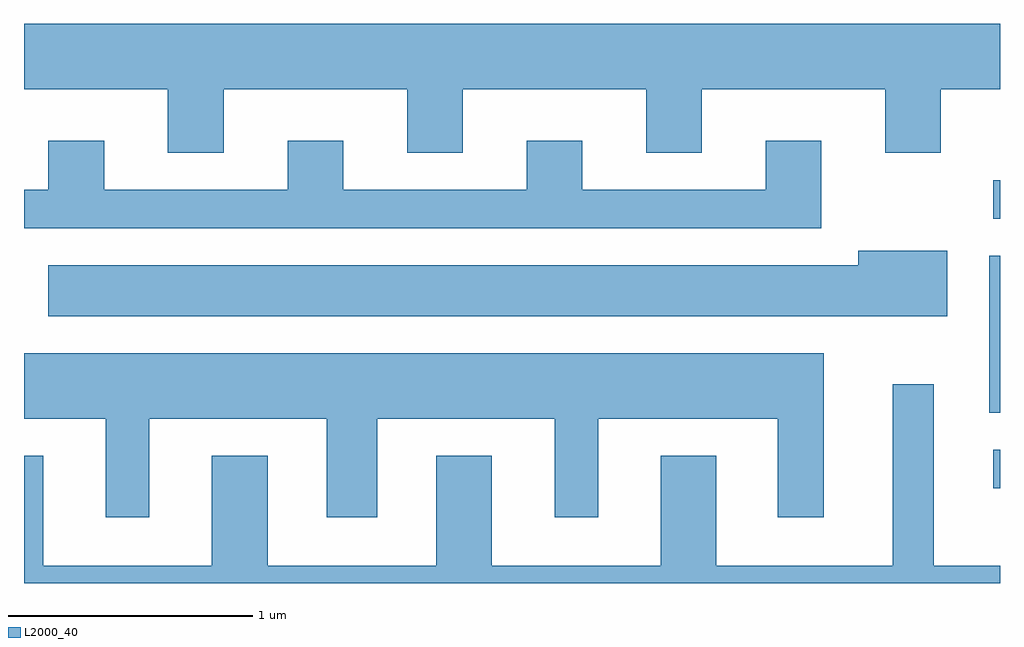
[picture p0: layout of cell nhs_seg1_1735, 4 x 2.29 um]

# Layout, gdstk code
import gdstk
lib = gdstk.Library(unit=1e-6, precision=1e-09)
def R(c, l, rs):  # rectangles x0, y0, x1, y1
    for r in rs: c.add(gdstk.rectangle(r[:2], r[2:], *l))
def P(c, l, *ps):  # polygons
    for p in ps: c.add(gdstk.Polygon(p, *l))
L2000_40 = (2000, 40)

nhs_seg1_1735 = lib.new_cell('nhs_seg1_1735')
R(nhs_seg1_1735, L2000_40, [(241.583,960.101,241.611,960.259), (241.566,960.411,241.611,961.054), (241.583,961.206,241.611,961.364)])
P(nhs_seg1_1735, L2000_40, [(238.429,961.736),(239.181,961.736),(239.181,961.476),(239.409,961.476),(239.409,961.736),(240.161,961.736),(240.161,961.476),(240.389,961.476),(240.389,961.736),(241.141,961.736),(241.141,961.476),(241.369,961.476),(241.369,961.736),(241.611,961.736),(241.611,962.004),(237.611,962.004),(237.611,961.736),(238.201,961.736),(238.201,961.476),(238.429,961.476)],
  [(240.879,961.524),(240.651,961.524),(240.651,961.324),(239.899,961.324),(239.899,961.524),(239.671,961.524),(239.671,961.324),(238.919,961.324),(238.919,961.524),(238.691,961.524),(238.691,961.324),(237.939,961.324),(237.939,961.524),(237.711,961.524),(237.711,961.324),(237.611,961.324),(237.611,961.166),(240.879,961.166)],
  [(241.394,961.074),(241.031,961.074),(241.031,961.014),(237.711,961.014),(237.711,960.806),(241.394,960.806)],
  [(238.124,960.386),(238.851,960.386),(238.851,959.981),(239.059,959.981),(239.059,960.386),(239.786,960.386),(239.786,959.981),(239.964,959.981),(239.964,960.386),(240.701,960.386),(240.701,959.981),(240.889,959.981),(240.889,960.654),(237.611,960.654),(237.611,960.386),(237.946,960.386),(237.946,959.981),(238.124,959.981)],
  [(238.609,960.234),(238.381,960.234),(238.381,959.784),(237.689,959.784),(237.689,960.234),(237.611,960.234),(237.611,959.712),(241.611,959.712),(241.611,959.784),(241.339,959.784),(241.339,960.528),(241.171,960.528),(241.171,959.784),(240.449,959.784),(240.449,960.234),(240.221,960.234),(240.221,959.784),(239.529,959.784),(239.529,960.234),(239.301,960.234),(239.301,959.784),(238.609,959.784)])

lib.write_gds('nhs_seg1_1735.gds')
